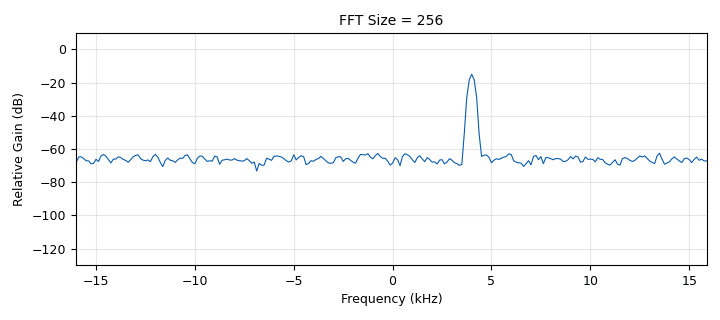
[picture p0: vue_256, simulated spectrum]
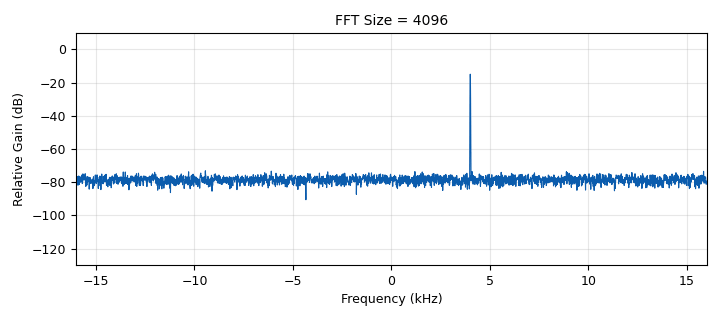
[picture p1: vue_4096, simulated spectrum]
options:
  parameters:
    generate_options: qt_gui
    id: fg_ch22_002
    output_language: python
    title: FG-CH22-002
  states: {}

blocks:
- name: amp_bruit
  id: variable
  parameters:
    value: '0.02'
  states: {}
- name: amp_signal
  id: variable
  parameters:
    value: '0.5'
  states: {}
- name: samp_rate
  id: variable
  parameters:
    value: '32000'
  states: {}
- name: bruit
  id: analog_noise_source_x
  parameters:
    amp: amp_bruit
    noise_type: analog.GR_GAUSSIAN
    seed: '0'
    type: complex
  states: {}
- name: debit
  id: blocks_throttle2
  parameters:
    samples_per_second: samp_rate
    type: complex
  states: {}
- name: raie
  id: analog_sig_source_x
  parameters:
    amp: amp_signal
    freq: '4000'
    offset: '0'
    phase: '0'
    samp_rate: samp_rate
    type: complex
    waveform: analog.GR_COS_WAVE
  states: {}
- name: somme
  id: blocks_add_xx
  parameters:
    type: complex
  states: {}
- name: vue_256
  id: qtgui_freq_sink_x
  parameters:
    average: '0.2'
    bw: samp_rate
    fc: '0'
    fftsize: '256'
    grid: 'True'
    gui_hint: 0,0,1,1
    legend: 'False'
    name: '"FFT Size = 256"'
    type: complex
    ymin: '-130'
  states: {}
- name: vue_4096
  id: qtgui_freq_sink_x
  parameters:
    average: '0.2'
    bw: samp_rate
    fc: '0'
    fftsize: '4096'
    grid: 'True'
    gui_hint: 1,0,1,1
    legend: 'False'
    name: '"FFT Size = 4096"'
    type: complex
    ymin: '-130'
  states: {}

connections:
- [bruit, '0', somme, '1']
- [debit, '0', vue_256, '0']
- [debit, '0', vue_4096, '0']
- [raie, '0', somme, '0']
- [somme, '0', debit, '0']

metadata:
  file_format: 1
  grc_version: 3.10.12.0
